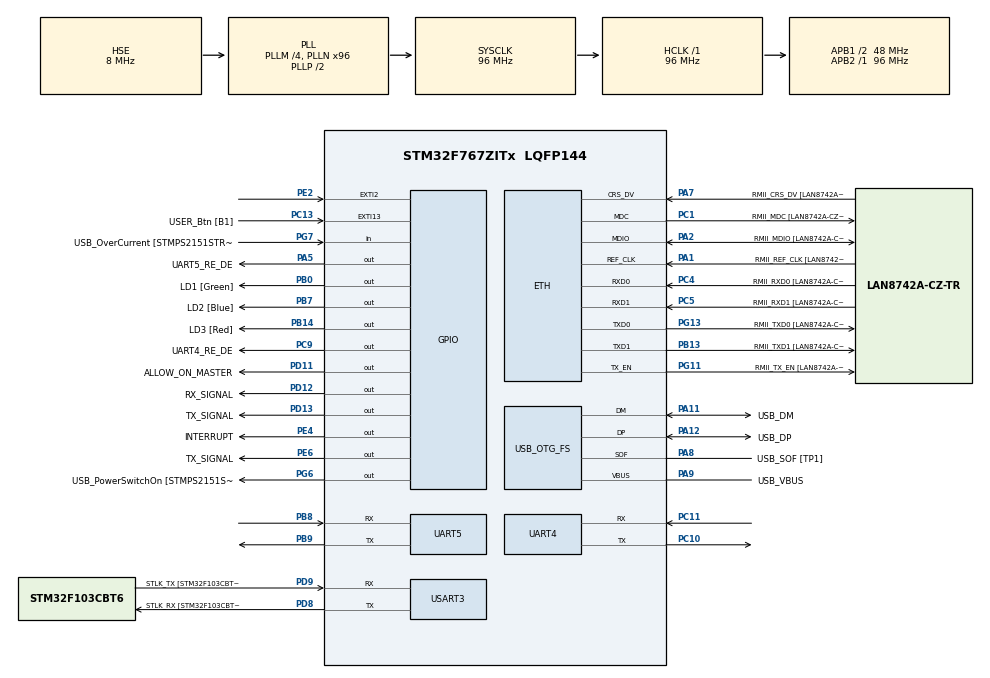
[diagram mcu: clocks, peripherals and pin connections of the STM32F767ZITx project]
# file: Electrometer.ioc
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ETH.MediaInterface=HAL_ETH_RMII_MODE
ETH.PHY_Name=LAN8742A_PHY_ADDRESS
ETH.PHY_Value=0
ETH.PhyAddress=0
Mcu.Family=STM32F7
Mcu.Name=STM32F767ZITx
Mcu.Package=LQFP144
NVIC.EXTI15_10_IRQn=true\:0\:0\:false\:false\:true\:true\:true\:true
NVIC.EXTI2_IRQn=true\:0\:0\:false\:false\:true\:true\:true\:true
NVIC.PriorityGroup=NVIC_PRIORITYGROUP_4
NVIC.UART4_IRQn=true\:0\:0\:false\:false\:true\:true\:true\:true
NVIC.UART5_IRQn=true\:0\:0\:false\:false\:true\:true\:true\:true
NVIC.USART3_IRQn=true\:0\:0\:false\:false\:true\:true\:true\:true
PA1.GPIO_Label=RMII_REF_CLK [LAN8742A-CZ-TR_REFCLK0]
PA1.Mode=RMII
PA1.Signal=ETH_REF_CLK
PA10.GPIO_Label=USB_ID
PA10.Signal=USB_OTG_FS_ID
PA11.GPIO_Label=USB_DM
PA11.Mode=Device_Only
PA11.Signal=USB_OTG_FS_DM
PA12.GPIO_Label=USB_DP
PA12.Mode=Device_Only
PA12.Signal=USB_OTG_FS_DP
PA13.GPIO_Label=TMS
PA13.Mode=Serial_Wire
PA13.Signal=SYS_JTMS-SWDIO
PA14.GPIO_Label=TCK
PA14.Mode=Serial_Wire
PA14.Signal=SYS_JTCK-SWCLK
PA2.GPIO_Label=RMII_MDIO [LAN8742A-CZ-TR_MDIO]
PA2.Mode=RMII
PA2.Signal=ETH_MDIO
PA5.GPIO_Label=UART5_RE_DE
PA5.Signal=GPIO_Output
PA7.GPIO_Label=RMII_CRS_DV [LAN8742A-CZ-TR_CRS_DV]
PA7.Mode=RMII
PA7.Signal=ETH_CRS_DV
PA8.GPIO_Label=USB_SOF [TP1]
PA8.Mode=Activate_SOF_FS
PA8.Signal=USB_OTG_FS_SOF
PA9.GPIO_Label=USB_VBUS
PA9.Mode=Activate_VBUS
PA9.Signal=USB_OTG_FS_VBUS
PB0.GPIO_Label=LD1 [Green]
PB0.Signal=GPIO_Output
PB13.GPIO_Label=RMII_TXD1 [LAN8742A-CZ-TR_TXD1]
PB13.Mode=RMII
PB13.Signal=ETH_TXD1
PB14.GPIO_Label=LD3 [Red]
PB14.Signal=GPIO_Output
PB7.GPIO_Label=LD2 [Blue]
PB7.Signal=GPIO_Output
PB8.Mode=Asynchronous
PB8.Signal=UART5_RX
PB9.Mode=Asynchronous
PB9.Signal=UART5_TX
PC1.GPIO_Label=RMII_MDC [LAN8742A-CZ-TR_MDC]
PC1.Mode=RMII
PC1.Signal=ETH_MDC
PC10.Mode=Asynchronous
PC10.Signal=UART4_TX
PC11.Mode=Asynchronous
PC11.Signal=UART4_RX
PC13.GPIO_Label=USER_Btn [B1]
PC13.Signal=GPXTI13
PC14/OSC32_IN.Mode=LSE-External-Oscillator
PC14/OSC32_IN.Signal=RCC_OSC32_IN
PC15/OSC32_OUT.Mode=LSE-External-Oscillator
PC15/OSC32_OUT.Signal=RCC_OSC32_OUT
PC4.GPIO_Label=RMII_RXD0 [LAN8742A-CZ-TR_RXD0]
PC4.Mode=RMII
PC4.Signal=ETH_RXD0
PC5.GPIO_Label=RMII_RXD1 [LAN8742A-CZ-TR_RXD1]
PC5.Mode=RMII
PC5.Signal=ETH_RXD1
PC9.GPIO_Label=UART4_RE_DE
PC9.Signal=GPIO_Output
PD11.GPIO_Label=ALLOW_ON_MASTER
PD11.Signal=GPIO_Output
PD12.GPIO_Label=RX_SIGNAL
PD12.Signal=GPIO_Output
PD13.GPIO_Label=TX_SIGNAL
PD13.Signal=GPIO_Output
PD8.GPIO_Label=STLK_RX [STM32F103CBT6_PA3]
PD8.Mode=Asynchronous
PD8.Signal=USART3_TX
PD9.GPIO_Label=STLK_TX [STM32F103CBT6_PA2]
PD9.Mode=Asynchronous
PD9.Signal=USART3_RX
PE2.Signal=GPXTI2
PE4.GPIO_Label=INTERRUPT
PE4.Signal=GPIO_Output
PE6.GPIO_Label=TX_SIGNAL
PE6.Signal=GPIO_Output
PG11.GPIO_Label=RMII_TX_EN [LAN8742A-CZ-TR_TXEN]
PG11.Mode=RMII
PG11.Signal=ETH_TX_EN
PG13.GPIO_Label=RMII_TXD0 [LAN8742A-CZ-TR_TXD0]
PG13.Mode=RMII
PG13.Signal=ETH_TXD0
PG6.GPIO_Label=USB_PowerSwitchOn [STMPS2151STR_EN]
PG6.Signal=GPIO_Output
PG7.GPIO_Label=USB_OverCurrent [STMPS2151STR_FAULT]
PG7.Signal=GPIO_Input
PH0/OSC_IN.GPIO_Label=MCO [STM32F103CBT6_PA8]
PH0/OSC_IN.Mode=HSE-External-Clock-Source
PH0/OSC_IN.Signal=RCC_OSC_IN
PH1/OSC_OUT.Mode=HSE-External-Clock-Source
PH1/OSC_OUT.Signal=RCC_OSC_OUT
ProjectManager.HeapSize=0x200
ProjectManager.StackSize=0x400
ProjectManager.TargetToolchain=STM32CubeIDE
RCC.48MHZClocksFreq_Value=24000000
RCC.AHBFreq_Value=96000000
RCC.APB1CLKDivider=RCC_HCLK_DIV2
RCC.APB1Freq_Value=48000000
RCC.APB1TimFreq_Value=96000000
RCC.APB2Freq_Value=96000000
RCC.APB2TimFreq_Value=96000000
RCC.CortexFreq_Value=96000000
RCC.HCLKFreq_Value=96000000
RCC.HSE_VALUE=8000000
RCC.HSI_VALUE=16000000
RCC.PLLM=4
RCC.PLLMUL=RCC_PLL_MUL9
RCC.PLLN=96
RCC.PLLQ=4
RCC.PRESCALERUSB=RCC_USBCLKSOURCE_PLL_DIV1_5
RCC.SYSCLKFreq_VALUE=96000000
RCC.SYSCLKSource=RCC_SYSCLKSOURCE_PLLCLK
RCC.SYSCLKSourceVirtual=RCC_SYSCLKSOURCE_PLLCLK
RCC.USBFreq_Value=48000000
RCC.VCOOutputFreq_Value=192000000
USART3.VirtualMode-Asynchronous=VM_ASYNC
USB_OTG_FS.VirtualMode=Device_Only
board=NUCLEO-F767ZI

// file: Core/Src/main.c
/* USER CODE BEGIN Header */
/**
  ******************************************************************************
  * @file           : main.c
  * @brief          : Main program body
  ******************************************************************************
  * @attention
  *
  * Copyright (c) 2025 STMicroelectronics.
  * All rights reserved.
  *
  * This software is licensed under terms that can be found in the LICENSE file
  * in the root directory of this software component.
  * If no LICENSE file comes with this software, it is provided AS-IS.
  *
  ******************************************************************************
  */
/* USER CODE END Header */
#include "main.h"
#include "string.h"

/* USER CODE BEGIN Includes */
#include <stdio.h>
#include <stdbool.h>
#include <string.h>
/* USER CODE END Includes */

#if defined ( __ICCARM__ ) /*!< IAR Compiler */
#pragma location=0x2007c000
ETH_DMADescTypeDef  DMARxDscrTab[ETH_RX_DESC_CNT]; /* Ethernet Rx DMA Descriptors */
#pragma location=0x2007c0a0
ETH_DMADescTypeDef  DMATxDscrTab[ETH_TX_DESC_CNT]; /* Ethernet Tx DMA Descriptors */

#elif defined ( __CC_ARM )  /* MDK ARM Compiler */

__attribute__((at(0x2007c000))) ETH_DMADescTypeDef  DMARxDscrTab[ETH_RX_DESC_CNT]; /* Ethernet Rx DMA Descriptors */
__attribute__((at(0x2007c0a0))) ETH_DMADescTypeDef  DMATxDscrTab[ETH_TX_DESC_CNT]; /* Ethernet Tx DMA Descriptors */

#elif defined ( __GNUC__ ) /* GNU Compiler */

ETH_DMADescTypeDef DMARxDscrTab[ETH_RX_DESC_CNT] __attribute__((section(".RxDecripSection"))); /* Ethernet Rx DMA Descriptors */
ETH_DMADescTypeDef DMATxDscrTab[ETH_TX_DESC_CNT] __attribute__((section(".TxDecripSection")));   /* Ethernet Tx DMA Descriptors */
#endif

ETH_TxPacketConfig TxConfig;

ETH_HandleTypeDef heth;

UART_HandleTypeDef huart4;
UART_HandleTypeDef huart5;
UART_HandleTypeDef huart3;

PCD_HandleTypeDef hpcd_USB_OTG_FS;

/* USER CODE BEGIN PV */
uint32_t mls = 0;
uint32_t mls2 = 0;
uint16_t counter = 0;
uint8_t rx_buff;
uint8_t tx_buff[100];
uint8_t rx_count;
uint8_t tx_size;
uint8_t msg[100];
uint32_t sumofc = 0;

bool ei = 1;
bool tx_flag = 0;
/* USER CODE END PV */

void SystemClock_Config(void);
static void MX_GPIO_Init(void);
static void MX_ETH_Init(void);
static void MX_USART3_UART_Init(void);
static void MX_USB_OTG_FS_PCD_Init(void);
static void MX_UART4_Init(void);
static void MX_UART5_Init(void);

int main(void)
{

  /* MCU Configuration--------------------------------------------------------*/

  /* Reset of all peripherals, Initializes the Flash interface and the Systick. */
  HAL_Init();

  /* Configure the system clock */
  SystemClock_Config();

  /* Initialize all configured peripherals */
  MX_GPIO_Init();
  MX_ETH_Init();
  MX_USART3_UART_Init();
  MX_USB_OTG_FS_PCD_Init();
  MX_UART4_Init();
  MX_UART5_Init();
  /* USER CODE BEGIN 2 */
  HAL_GPIO_WritePin(UART5_RE_DE_GPIO_Port, UART5_RE_DE_Pin, GPIO_PIN_SET);
  HAL_UART_Transmit(&huart5, msg, sprintf((char*) msg, "Program started.\r"), HAL_MAX_DELAY);
  HAL_GPIO_WritePin(UART5_RE_DE_GPIO_Port, UART5_RE_DE_Pin, GPIO_PIN_RESET);
  //printf("Program started.\r");
  HAL_GPIO_WritePin(UART4_RE_DE_GPIO_Port, UART4_RE_DE_Pin, GPIO_PIN_RESET);
  HAL_GPIO_WritePin(UART5_RE_DE_GPIO_Port, UART5_RE_DE_Pin, GPIO_PIN_RESET);
  HAL_GPIO_WritePin(RX_SIGNAL_GPIO_Port, RX_SIGNAL_Pin, GPIO_PIN_RESET);
  HAL_GPIO_WritePin(TX_SIGNAL_GPIO_Port, TX_SIGNAL_Pin, GPIO_PIN_SET);
  HAL_GPIO_WritePin(ALLOW_ON_MASTER_GPIO_Port, ALLOW_ON_MASTER_Pin, GPIO_PIN_SET);
  HAL_UART_Receive_IT(&huart5, &rx_buff, 1);
  HAL_UART_Receive_IT(&huart4, &rx_buff, 1);
  HAL_NVIC_DisableIRQ(UART4_IRQn);
  /* USER CODE END 2 */

  /* Infinite loop */
  while (1)
  {

    /* USER CODE BEGIN 3 */
	//HAL_NVIC_EnableIRQ(UART4_IRQn);
	//HAL_NVIC_DisableIRQ(UART4_IRQn);

	if(tx_flag == 1) {
		if(tx_buff[0] == 'A') {
			for(int i = 0; i < strlen((char*) tx_buff) - 1; ++i) {
				tx_buff[i] = tx_buff[i+1];

				if(i+2 == strlen((char*) tx_buff)) {
					tx_buff[i+1] = '\0';
				}
			}

			HAL_GPIO_WritePin(UART4_RE_DE_GPIO_Port, UART4_RE_DE_Pin, GPIO_PIN_SET);
			HAL_GPIO_WritePin(RX_SIGNAL_GPIO_Port, RX_SIGNAL_Pin, GPIO_PIN_SET);
			//printf("%s", tx_buff);
			HAL_UART_Transmit(&huart4, tx_buff, strlen((char*) tx_buff), HAL_MAX_DELAY);
			HAL_GPIO_WritePin(UART4_RE_DE_GPIO_Port, UART4_RE_DE_Pin, GPIO_PIN_RESET);
			HAL_GPIO_WritePin(RX_SIGNAL_GPIO_Port, RX_SIGNAL_Pin, GPIO_PIN_RESET);

			HAL_GPIO_TogglePin(LD1_GPIO_Port, LD1_Pin);
		} else {
			if(tx_buff[0] == 'E' && tx_buff[1] == 'U') {
				HAL_NVIC_EnableIRQ(UART4_IRQn);
				printf("EU\n");
			} else if (tx_buff[0] == 'E' && tx_buff[1] == 'E') {
				HAL_NVIC_EnableIRQ(EXTI2_IRQn);
				ei = 1;

				printf("EE\n");
			} else if (tx_buff[0] == 'D' && tx_buff[1] == 'U') {
				HAL_NVIC_DisableIRQ(UART4_IRQn);
				printf("DU\n");
			} else if (tx_buff[0] == 'D' && tx_buff[1] == 'E') {
				HAL_NVIC_DisableIRQ(EXTI2_IRQn);
				ei = 0;

				printf("DE\n");
			} else if (tx_buff[0] == 'R' && tx_buff[1] == 'E') {
				sumofc = 0;
			}
		}
		tx_flag = 0;
		memset(tx_buff, 0, 100);
	}
	if(HAL_GetTick() - mls2 >= 1000) {
		mls2 = HAL_GetTick();
		HAL_GPIO_TogglePin(INTERRUPT_GPIO_Port, INTERRUPT_Pin);
	}

	if (HAL_GetTick() - mls >=1000 && ei == 1) {
		mls = HAL_GetTick();

		sumofc += counter;
		printf("Frequency: %d%s%d%c", counter, " All: ", (int) sumofc, '\n');

		counter = 0;
	}

  }
  /* USER CODE END 3 */
}

void SystemClock_Config(void)
{
  RCC_OscInitTypeDef RCC_OscInitStruct = {0};
  RCC_ClkInitTypeDef RCC_ClkInitStruct = {0};

  /** Configure LSE Drive Capability
  */
  HAL_PWR_EnableBkUpAccess();

  /** Configure the main internal regulator output voltage
  */
  __HAL_RCC_PWR_CLK_ENABLE();
  __HAL_PWR_VOLTAGESCALING_CONFIG(PWR_REGULATOR_VOLTAGE_SCALE3);

  /** Initializes the RCC Oscillators according to the specified parameters
  * in the RCC_OscInitTypeDef structure.
  */
  RCC_OscInitStruct.OscillatorType = RCC_OSCILLATORTYPE_HSE;
  RCC_OscInitStruct.HSEState = RCC_HSE_BYPASS;
  RCC_OscInitStruct.PLL.PLLState = RCC_PLL_ON;
  RCC_OscInitStruct.PLL.PLLSource = RCC_PLLSOURCE_HSE;
  RCC_OscInitStruct.PLL.PLLM = 4;
  RCC_OscInitStruct.PLL.PLLN = 96;
  RCC_OscInitStruct.PLL.PLLP = RCC_PLLP_DIV2;
  RCC_OscInitStruct.PLL.PLLQ = 4;
  RCC_OscInitStruct.PLL.PLLR = 2;
  if (HAL_RCC_OscConfig(&RCC_OscInitStruct) != HAL_OK)
  {
    Error_Handler();
  }

  /** Activate the Over-Drive mode
  */
  if (HAL_PWREx_EnableOverDrive() != HAL_OK)
  {
    Error_Handler();
  }

  /** Initializes the CPU, AHB and APB buses clocks
  */
  RCC_ClkInitStruct.ClockType = RCC_CLOCKTYPE_HCLK|RCC_CLOCKTYPE_SYSCLK
                              |RCC_CLOCKTYPE_PCLK1|RCC_CLOCKTYPE_PCLK2;
  RCC_ClkInitStruct.SYSCLKSource = RCC_SYSCLKSOURCE_PLLCLK;
  RCC_ClkInitStruct.AHBCLKDivider = RCC_SYSCLK_DIV1;
  RCC_ClkInitStruct.APB1CLKDivider = RCC_HCLK_DIV2;
  RCC_ClkInitStruct.APB2CLKDivider = RCC_HCLK_DIV1;

  if (HAL_RCC_ClockConfig(&RCC_ClkInitStruct, FLASH_LATENCY_3) != HAL_OK)
  {
    Error_Handler();
  }
}

static void MX_ETH_Init(void)
{

   static uint8_t MACAddr[6];

  heth.Instance = ETH;
  MACAddr[0] = 0x00;
  MACAddr[1] = 0x80;
  MACAddr[2] = 0xE1;
  MACAddr[3] = 0x00;
  MACAddr[4] = 0x00;
  MACAddr[5] = 0x00;
  heth.Init.MACAddr = &MACAddr[0];
  heth.Init.MediaInterface = HAL_ETH_RMII_MODE;
  heth.Init.TxDesc = DMATxDscrTab;
  heth.Init.RxDesc = DMARxDscrTab;
  heth.Init.RxBuffLen = 1524;

  if (HAL_ETH_Init(&heth) != HAL_OK)
  {
    Error_Handler();
  }

  memset(&TxConfig, 0 , sizeof(ETH_TxPacketConfig));
  TxConfig.Attributes = ETH_TX_PACKETS_FEATURES_CSUM | ETH_TX_PACKETS_FEATURES_CRCPAD;
  TxConfig.ChecksumCtrl = ETH_CHECKSUM_IPHDR_PAYLOAD_INSERT_PHDR_CALC;
  TxConfig.CRCPadCtrl = ETH_CRC_PAD_INSERT;

}

static void MX_UART4_Init(void)
{

  huart4.Instance = UART4;
  huart4.Init.BaudRate = 115200;
  huart4.Init.WordLength = UART_WORDLENGTH_8B;
  huart4.Init.StopBits = UART_STOPBITS_1;
  huart4.Init.Parity = UART_PARITY_NONE;
  huart4.Init.Mode = UART_MODE_TX_RX;
  huart4.Init.HwFlowCtl = UART_HWCONTROL_NONE;
  huart4.Init.OverSampling = UART_OVERSAMPLING_16;
  huart4.Init.OneBitSampling = UART_ONE_BIT_SAMPLE_DISABLE;
  huart4.AdvancedInit.AdvFeatureInit = UART_ADVFEATURE_NO_INIT;
  if (HAL_UART_Init(&huart4) != HAL_OK)
  {
    Error_Handler();
  }

}

static void MX_UART5_Init(void)
{

  huart5.Instance = UART5;
  huart5.Init.BaudRate = 115200;
  huart5.Init.WordLength = UART_WORDLENGTH_8B;
  huart5.Init.StopBits = UART_STOPBITS_1;
  huart5.Init.Parity = UART_PARITY_NONE;
  huart5.Init.Mode = UART_MODE_TX_RX;
  huart5.Init.HwFlowCtl = UART_HWCONTROL_NONE;
  huart5.Init.OverSampling = UART_OVERSAMPLING_16;
  huart5.Init.OneBitSampling = UART_ONE_BIT_SAMPLE_DISABLE;
  huart5.AdvancedInit.AdvFeatureInit = UART_ADVFEATURE_NO_INIT;
  if (HAL_UART_Init(&huart5) != HAL_OK)
  {
    Error_Handler();
  }

}

static void MX_USART3_UART_Init(void)
{

  huart3.Instance = USART3;
  huart3.Init.BaudRate = 115200;
  huart3.Init.WordLength = UART_WORDLENGTH_8B;
  huart3.Init.StopBits = UART_STOPBITS_1;
  huart3.Init.Parity = UART_PARITY_NONE;
  huart3.Init.Mode = UART_MODE_TX_RX;
  huart3.Init.HwFlowCtl = UART_HWCONTROL_NONE;
  huart3.Init.OverSampling = UART_OVERSAMPLING_16;
  huart3.Init.OneBitSampling = UART_ONE_BIT_SAMPLE_DISABLE;
  huart3.AdvancedInit.AdvFeatureInit = UART_ADVFEATURE_NO_INIT;
  if (HAL_UART_Init(&huart3) != HAL_OK)
  {
    Error_Handler();
  }

}

static void MX_USB_OTG_FS_PCD_Init(void)
{

  hpcd_USB_OTG_FS.Instance = USB_OTG_FS;
  hpcd_USB_OTG_FS.Init.dev_endpoints = 6;
  hpcd_USB_OTG_FS.Init.speed = PCD_SPEED_FULL;
  hpcd_USB_OTG_FS.Init.dma_enable = DISABLE;
  hpcd_USB_OTG_FS.Init.phy_itface = PCD_PHY_EMBEDDED;
  hpcd_USB_OTG_FS.Init.Sof_enable = ENABLE;
  hpcd_USB_OTG_FS.Init.low_power_enable = DISABLE;
  hpcd_USB_OTG_FS.Init.lpm_enable = DISABLE;
  hpcd_USB_OTG_FS.Init.vbus_sensing_enable = ENABLE;
  hpcd_USB_OTG_FS.Init.use_dedicated_ep1 = DISABLE;
  if (HAL_PCD_Init(&hpcd_USB_OTG_FS) != HAL_OK)
  {
    Error_Handler();
  }

}

static void MX_GPIO_Init(void)
{
  GPIO_InitTypeDef GPIO_InitStruct = {0};

  /* GPIO Ports Clock Enable */
  __HAL_RCC_GPIOE_CLK_ENABLE();
  __HAL_RCC_GPIOC_CLK_ENABLE();
  __HAL_RCC_GPIOH_CLK_ENABLE();
  __HAL_RCC_GPIOA_CLK_ENABLE();
  __HAL_RCC_GPIOB_CLK_ENABLE();
  __HAL_RCC_GPIOD_CLK_ENABLE();
  __HAL_RCC_GPIOG_CLK_ENABLE();

  /*Configure GPIO pin Output Level */
  HAL_GPIO_WritePin(GPIOE, INTERRUPT_Pin|TX_SIGNAL_Pin, GPIO_PIN_RESET);

  /*Configure GPIO pin Output Level */
  HAL_GPIO_WritePin(UART5_RE_DE_GPIO_Port, UART5_RE_DE_Pin, GPIO_PIN_RESET);

  /*Configure GPIO pin Output Level */
  HAL_GPIO_WritePin(GPIOB, LD1_Pin|LD3_Pin|LD2_Pin, GPIO_PIN_RESET);

  /*Configure GPIO pin Output Level */
  HAL_GPIO_WritePin(GPIOD, ALLOW_ON_MASTER_Pin|RX_SIGNAL_Pin|TX_SIGNALD13_Pin, GPIO_PIN_RESET);

  /*Configure GPIO pin Output Level */
  HAL_GPIO_WritePin(USB_PowerSwitchOn_GPIO_Port, USB_PowerSwitchOn_Pin, GPIO_PIN_RESET);

  /*Configure GPIO pin Output Level */
  HAL_GPIO_WritePin(UART4_RE_DE_GPIO_Port, UART4_RE_DE_Pin, GPIO_PIN_RESET);

  /*Configure GPIO pin : PE2 */
  GPIO_InitStruct.Pin = GPIO_PIN_2;
  GPIO_InitStruct.Mode = GPIO_MODE_IT_RISING;
  GPIO_InitStruct.Pull = GPIO_NOPULL;
  HAL_GPIO_Init(GPIOE, &GPIO_InitStruct);

  /*Configure GPIO pins : INTERRUPT_Pin TX_SIGNAL_Pin */
  GPIO_InitStruct.Pin = INTERRUPT_Pin|TX_SIGNAL_Pin;
  GPIO_InitStruct.Mode = GPIO_MODE_OUTPUT_PP;
  GPIO_InitStruct.Pull = GPIO_NOPULL;
  GPIO_InitStruct.Speed = GPIO_SPEED_FREQ_LOW;
  HAL_GPIO_Init(GPIOE, &GPIO_InitStruct);

  /*Configure GPIO pin : USER_Btn_Pin */
  GPIO_InitStruct.Pin = USER_Btn_Pin;
  GPIO_InitStruct.Mode = GPIO_MODE_IT_RISING;
  GPIO_InitStruct.Pull = GPIO_NOPULL;
  HAL_GPIO_Init(USER_Btn_GPIO_Port, &GPIO_InitStruct);

  /*Configure GPIO pin : UART5_RE_DE_Pin */
  GPIO_InitStruct.Pin = UART5_RE_DE_Pin;
  GPIO_InitStruct.Mode = GPIO_MODE_OUTPUT_PP;
  GPIO_InitStruct.Pull = GPIO_NOPULL;
  GPIO_InitStruct.Speed = GPIO_SPEED_FREQ_LOW;
  HAL_GPIO_Init(UART5_RE_DE_GPIO_Port, &GPIO_InitStruct);

  /*Configure GPIO pins : LD1_Pin LD3_Pin LD2_Pin */
  GPIO_InitStruct.Pin = LD1_Pin|LD3_Pin|LD2_Pin;
  GPIO_InitStruct.Mode = GPIO_MODE_OUTPUT_PP;
  GPIO_InitStruct.Pull = GPIO_NOPULL;
  GPIO_InitStruct.Speed = GPIO_SPEED_FREQ_LOW;
  HAL_GPIO_Init(GPIOB, &GPIO_InitStruct);

  /*Configure GPIO pins : ALLOW_ON_MASTER_Pin RX_SIGNAL_Pin TX_SIGNALD13_Pin */
  GPIO_InitStruct.Pin = ALLOW_ON_MASTER_Pin|RX_SIGNAL_Pin|TX_SIGNALD13_Pin;
  GPIO_InitStruct.Mode = GPIO_MODE_OUTPUT_PP;
  GPIO_InitStruct.Pull = GPIO_NOPULL;
  GPIO_InitStruct.Speed = GPIO_SPEED_FREQ_LOW;
  HAL_GPIO_Init(GPIOD, &GPIO_InitStruct);

  /*Configure GPIO pin : USB_PowerSwitchOn_Pin */
  GPIO_InitStruct.Pin = USB_PowerSwitchOn_Pin;
  GPIO_InitStruct.Mode = GPIO_MODE_OUTPUT_PP;
  GPIO_InitStruct.Pull = GPIO_NOPULL;
  GPIO_InitStruct.Speed = GPIO_SPEED_FREQ_LOW;
  HAL_GPIO_Init(USB_PowerSwitchOn_GPIO_Port, &GPIO_InitStruct);

  /*Configure GPIO pin : USB_OverCurrent_Pin */
  GPIO_InitStruct.Pin = USB_OverCurrent_Pin;
  GPIO_InitStruct.Mode = GPIO_MODE_INPUT;
  GPIO_InitStruct.Pull = GPIO_NOPULL;
  HAL_GPIO_Init(USB_OverCurrent_GPIO_Port, &GPIO_InitStruct);

  /*Configure GPIO pin : UART4_RE_DE_Pin */
  GPIO_InitStruct.Pin = UART4_RE_DE_Pin;
  GPIO_InitStruct.Mode = GPIO_MODE_OUTPUT_PP;
  GPIO_InitStruct.Pull = GPIO_NOPULL;
  GPIO_InitStruct.Speed = GPIO_SPEED_FREQ_LOW;
  HAL_GPIO_Init(UART4_RE_DE_GPIO_Port, &GPIO_InitStruct);

  /* EXTI interrupt init*/
  HAL_NVIC_SetPriority(EXTI2_IRQn, 0, 0);
  HAL_NVIC_EnableIRQ(EXTI2_IRQn);

  HAL_NVIC_SetPriority(EXTI15_10_IRQn, 0, 0);
  HAL_NVIC_EnableIRQ(EXTI15_10_IRQn);

}

/* USER CODE BEGIN 4 */

void HAL_GPIO_EXTI_Callback(uint16_t GPIO_Pin)
{
    if(GPIO_Pin == GPIO_PIN_2) // If The INT Source Is EXTI Line9 (A9 Pin)
    {
        counter += 1;
    }
}

void HAL_UART_RxCpltCallback(UART_HandleTypeDef *huart) {
	if(huart == &huart5){
	//1 = TX, 0 = RX control pin - Pc8 usr_name - UART_RS485
	if (rx_buff == '\r') {
		tx_buff[rx_count] = '\r';
		tx_size = rx_count; //кол-во переданных �?имволов
		rx_count = 0; //�?бро�? �?чётчика под�?чёта размера

		tx_flag = 1;
	}else {
		tx_buff[rx_count] = rx_buff; //запи�?ь данных из буффера
		rx_count++;
	}
	HAL_UART_Receive_IT(&huart5, &rx_buff, 1);
	}

	if(huart == &huart4){
		//rx_flag = 1;
	 if (rx_buff == '@') {
		//tx_buff[rx_count] = '@';
		tx_size = rx_count;
		rx_count = 0;
		//printf("%s", tx_buff);
		HAL_GPIO_WritePin(UART5_RE_DE_GPIO_Port, UART5_RE_DE_Pin, GPIO_PIN_SET);
		HAL_UART_Transmit(&huart5, tx_buff, strlen((char*) tx_buff), HAL_MAX_DELAY);
		HAL_GPIO_TogglePin(LD3_GPIO_Port, LD3_Pin);
		HAL_GPIO_WritePin(UART5_RE_DE_GPIO_Port, UART5_RE_DE_Pin, GPIO_PIN_RESET);

		memset(tx_buff, 0, strlen((char*) tx_buff));
		//rx_flag = !rx_flag;
	} else {
		tx_buff[rx_count] = rx_buff; //запи�?ь данных из буффера
		++rx_count;
	}
	 HAL_UART_Receive_IT(&huart4, &rx_buff, 1);
	}

	//HAL_UART_Transmit(&huart5, &rx_buff, 1, HAL_MAX_DELAY);
	//HAL_UART_Transmit(&huart4, &rx_buff, 1, HAL_MAX_DELAY);
}

int _write(int fd, char * ptr, int len) {
  HAL_GPIO_WritePin(UART5_RE_DE_GPIO_Port, UART5_RE_DE_Pin, GPIO_PIN_SET);
  HAL_UART_Transmit(&huart5, (uint8_t *) ptr, len, HAL_MAX_DELAY);
  HAL_GPIO_WritePin(UART5_RE_DE_GPIO_Port, UART5_RE_DE_Pin, GPIO_PIN_RESET);

  return len;
}
/* USER CODE END 4 */

void Error_Handler(void)
{
  __disable_irq();
  while (1)
  {
  }
}
